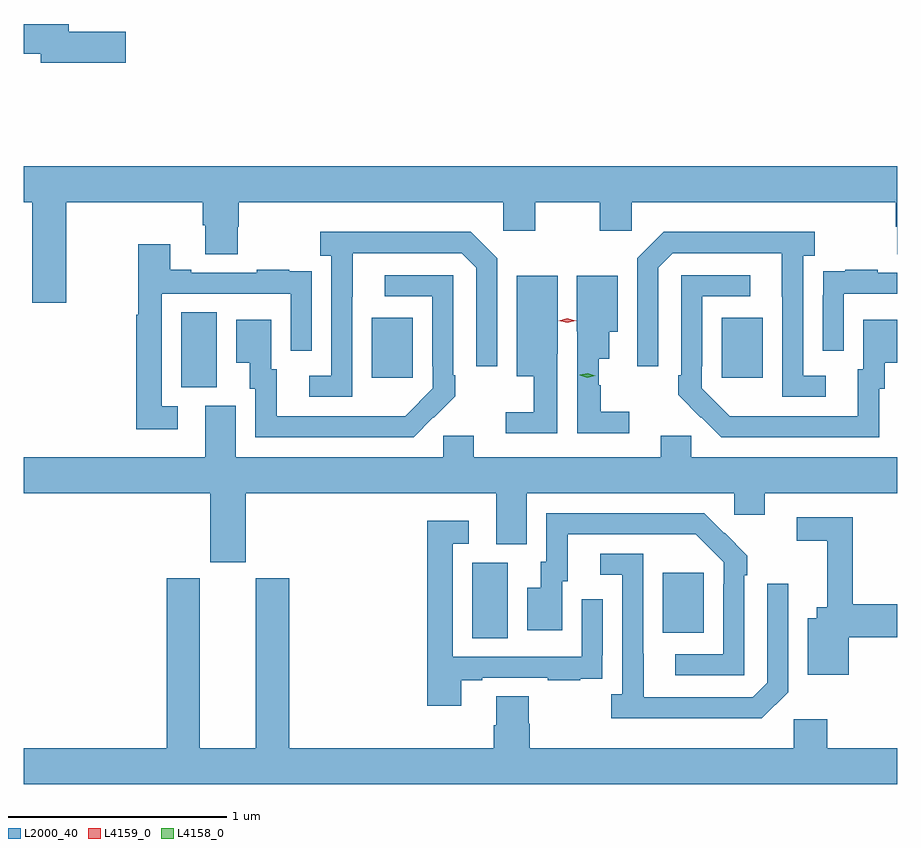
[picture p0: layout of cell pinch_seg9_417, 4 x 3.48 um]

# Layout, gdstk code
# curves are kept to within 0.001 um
import gdstk
lib = gdstk.Library(unit=1e-6, precision=1e-09)
def R(c, l, rs):  # rectangles x0, y0, x1, y1
    for r in rs: c.add(gdstk.rectangle(r[:2], r[2:], *l))
def P(c, l, *ps):  # polygons
    for p in ps: c.add(gdstk.Polygon(p, *l))
L2000_40 = (2000, 40)
L4158_0 = (4158, 0)
L4159_0 = (4159, 0)

pinch_seg9_417 = lib.new_cell('pinch_seg9_417')
R(pinch_seg9_417, L2000_40, [(159.992,1242.376,160.156,1242.72), (160.865,1242.401,161.053,1242.676), (158.66,1243.525,158.824,1243.868), (159.533,1243.569,159.721,1243.843), (161.135,1243.569,161.323,1243.843)])
P(pinch_seg9_417, L2000_40, [(158.407,1245.152),(158.146,1245.152),(158.146,1245.188),(157.939,1245.188),(157.939,1245.052),(158.018,1245.052),(158.018,1245.01),(158.407,1245.01)],
  [(158.133,1244.372),(158.759,1244.372),(158.759,1244.266),(158.771,1244.266),(158.771,1244.134),(158.919,1244.134),(158.919,1244.259),(158.924,1244.259),(158.924,1244.372),(160.134,1244.372),(160.134,1244.241),(160.281,1244.241),(160.281,1244.372),(160.576,1244.372),(160.576,1244.241),(160.722,1244.241),(160.722,1244.372),(161.933,1244.372),(161.933,1244.259),(161.938,1244.259),(161.938,1244.134),(161.939,1244.134),(161.939,1244.536),(157.939,1244.536),(157.939,1244.372),(157.978,1244.372),(157.978,1243.911),(158.133,1243.911)],
  [(161.611,1243.578),(161.508,1243.578),(161.508,1244.126),(161.56,1244.126),(161.56,1244.236),(160.87,1244.236),(160.749,1244.115),(160.749,1243.62),(160.845,1243.62),(160.845,1244.073),(160.911,1244.139),(161.411,1244.139),(161.412,1243.482),(161.611,1243.482)],
  [(159.444,1243.939),(159.445,1244.139),(159.945,1244.139),(160.011,1244.073),(160.011,1243.62),(160.107,1243.62),(160.107,1244.115),(159.986,1244.236),(159.297,1244.236),(159.297,1244.126),(159.348,1244.126),(159.348,1243.578),(159.246,1243.578),(159.246,1243.482),(159.444,1243.482)],
  [(158.644,1243.437),(158.571,1243.437),(158.571,1243.953),(159.162,1243.953),(159.162,1243.692),(159.258,1243.692),(159.258,1243.946),(159.257,1243.946),(159.257,1244.055),(159.155,1244.055),(159.155,1244.062),(159.007,1244.062),(159.007,1244.049),(158.707,1244.049),(158.707,1244.062),(158.611,1244.062),(158.611,1244.179),(158.463,1244.179),(158.463,1243.856),(158.455,1243.856),(158.455,1243.332),(158.644,1243.332)],
  [(161.694,1243.953),(161.939,1243.953),(161.939,1244.049),(161.849,1244.049),(161.849,1244.062),(161.701,1244.062),(161.701,1244.055),(161.599,1244.055),(161.599,1243.946),(161.598,1243.946),(161.598,1243.692),(161.694,1243.692)],
  [(159.815,1243.387),(159.816,1243.386),(159.914,1243.484),(159.914,1243.579),(159.906,1243.579),(159.906,1244.037),(159.591,1244.037),(159.591,1243.941),(159.81,1243.941),(159.81,1243.621),(159.813,1243.621),(159.813,1243.521),(159.685,1243.393),(159.097,1243.392),(159.097,1243.608),(159.073,1243.608),(159.073,1243.834),(158.912,1243.834),(158.912,1243.637),(158.975,1243.637),(158.975,1243.518),(159,1243.518),(159,1243.296),(159.724,1243.296)],
  [(161.856,1243.518),(161.881,1243.518),(161.881,1243.637),(161.939,1243.637),(161.939,1243.834),(161.783,1243.834),(161.783,1243.608),(161.759,1243.608),(161.759,1243.392),(161.172,1243.393),(161.043,1243.521),(161.043,1243.621),(161.046,1243.621),(161.046,1243.941),(161.266,1243.941),(161.266,1244.037),(160.95,1244.037),(160.95,1243.579),(160.935,1243.579),(160.935,1243.491),(161.132,1243.296),(161.856,1243.296)],
  [(160.711,1243.413),(160.582,1243.413),(160.582,1243.533),(160.571,1243.533),(160.571,1243.655),(160.621,1243.655),(160.621,1243.778),(160.66,1243.778),(160.66,1244.035),(160.472,1244.035),(160.472,1243.782),(160.473,1243.782),(160.473,1243.314),(160.711,1243.314)],
  [(160.383,1243.678),(160.384,1243.678),(160.384,1244.035),(160.196,1244.035),(160.196,1243.574),(160.275,1243.574),(160.275,1243.411),(160.146,1243.411),(160.146,1243.314),(160.383,1243.314)],
  [(158.956,1243.04),(160.103,1243.04),(160.103,1242.805),(160.243,1242.805),(160.243,1243.04),(161.193,1243.04),(161.193,1242.942),(161.332,1242.942),(161.332,1243.04),(161.939,1243.04),(161.939,1243.204),(160.995,1243.204),(160.995,1243.302),(160.856,1243.302),(160.856,1243.204),(160,1243.204),(160,1243.302),(159.861,1243.302),(159.861,1243.204),(158.911,1243.204),(158.911,1243.44),(158.771,1243.44),(158.771,1243.204),(157.939,1243.204),(157.939,1243.04),(158.792,1243.04),(158.792,1242.723),(158.956,1242.723)],
  [(161.238,1242.665),(161.253,1242.665),(161.253,1242.753),(161.056,1242.948),(160.332,1242.948),(160.332,1242.726),(160.307,1242.726),(160.307,1242.607),(160.244,1242.607),(160.244,1242.411),(160.405,1242.411),(160.405,1242.636),(160.429,1242.636),(160.429,1242.852),(161.017,1242.852),(161.145,1242.723),(161.145,1242.623),(161.142,1242.623),(161.142,1242.303),(160.923,1242.303),(160.923,1242.207),(161.238,1242.207)],
  [(161.716,1242.38),(161.939,1242.38),(161.939,1242.532),(161.735,1242.532),(161.735,1242.93),(161.478,1242.93),(161.478,1242.822),(161.618,1242.822),(161.618,1242.517),(161.57,1242.517),(161.57,1242.466),(161.528,1242.466),(161.528,1242.209),(161.716,1242.209)],
  [(159.943,1242.183),(160.039,1242.183),(160.039,1242.195),(160.339,1242.195),(160.339,1242.183),(160.487,1242.183),(160.487,1242.189),(160.589,1242.189),(160.589,1242.298),(160.59,1242.298),(160.59,1242.553),(160.494,1242.553),(160.494,1242.291),(159.903,1242.291),(159.903,1242.807),(159.976,1242.807),(159.976,1242.913),(159.787,1242.913),(159.787,1242.066),(159.943,1242.066)],
  [(161.439,1242.129),(161.439,1242.625),(161.343,1242.625),(161.343,1242.171),(161.277,1242.105),(160.777,1242.105),(160.776,1242.762),(160.578,1242.762),(160.578,1242.666),(160.68,1242.666),(160.68,1242.118),(160.629,1242.118),(160.629,1242.008),(161.318,1242.008)],
  [(161.939,1241.872),(161.618,1241.872),(161.618,1242.004),(161.466,1242.004),(161.466,1241.872),(160.256,1241.872),(160.256,1241.985),(160.251,1241.985),(160.251,1242.11),(160.103,1242.11),(160.103,1241.978),(160.091,1241.978),(160.091,1241.872),(159.155,1241.872),(159.155,1242.651),(159.002,1242.651),(159.002,1241.872),(158.746,1241.872),(158.746,1242.651),(158.594,1242.651),(158.594,1241.872),(157.939,1241.872),(157.939,1241.708),(161.939,1241.708)])
P(pinch_seg9_417, L4158_0, [(160.52,1243.569),(160.485,1243.58),(160.484,1243.581),(160.485,1243.581),(160.521,1243.589),(160.556,1243.578),(160.556,1243.578),(160.556,1243.578)])
P(pinch_seg9_417, L4159_0, [(160.428,1243.82),(160.389,1243.83),(160.389,1243.83),(160.389,1243.83),(160.428,1243.84),(160.467,1243.83),(160.468,1243.83),(160.467,1243.83)])

lib.write_gds('pinch_seg9_417.gds')
